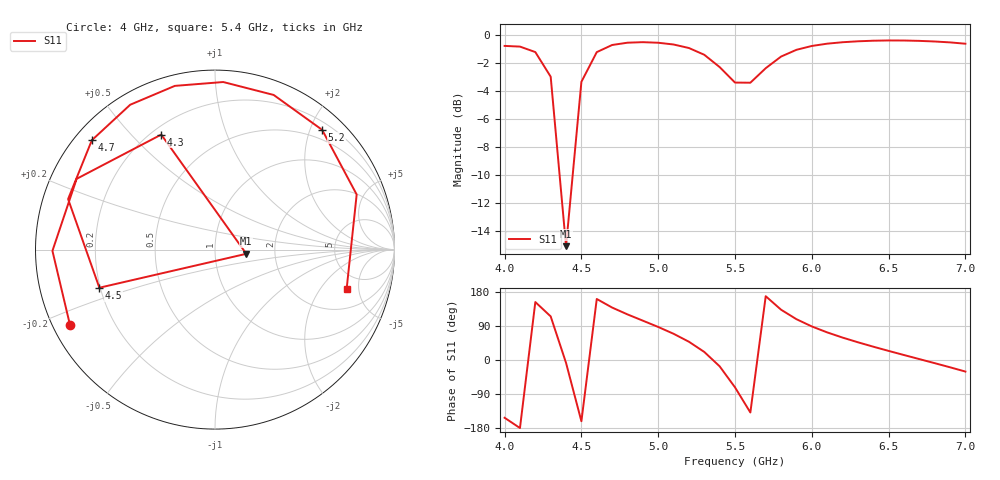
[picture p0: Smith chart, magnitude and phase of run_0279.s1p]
! Touchstone file exported from HFSS 2024.2.0
!  File:  C:/Users/wsak9/Desktop/Sim Fast/Widenad Patch/WP_AI_V1_sweep.aedt
!  Generated:  02:46:41 AM Oct 14, 2026
!  Design:  A1_model
!  Project:  WP_AI_V1_sweep
!  Setup:  Setup1
!  Solution:  Sweep
! Variables:
!  Air_gap = 2.09mm
!  Curve_Amp1 = 3.72
!  Curve_len1 = 1
!  Curve_pos = 13.025mm
!  Extra = 3.41mm
!  H_sub = 0.79mm
!  L_Patch = 22.05mm
!  L_Patch1 = 12.94mm
!  Sx = 2.18mm
!  Sy = 1.95mm
!  WS = 0.58mm
!  W_Patch = 13.38mm
!  W_Patch1 = 9.53mm
!Data is not renormalized
# GHz S MA
! Terminal data exported
! Port[1] = 1
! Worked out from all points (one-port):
!   31 points, 4 GHz to 7 GHz, reference per port
!   lowest |S11| = -15.1 dB at 4.4 GHz (marker M1), VSWR 1.43
!   |S11| at or under -10 dB: 4.358 GHz to 4.443 GHz (85.56 MHz wide, 1.94 % of centre)
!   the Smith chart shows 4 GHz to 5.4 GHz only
!   S11 on the Smith chart (normalised r, x): 4 GHz: 0.05, -0.24; 4.3 GHz: 0.24, +0.61; 4.5 GHz: 0.20, -0.15; 4.7 GHz: 0.05, +0.38; 5.2 GHz: 0.33, +2.20; 5.4 GHz: 3.47, -3.68
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4  0.9109 -152.4
4.1  0.9058 -179.6
4.2  0.8659 152.9
4.3  0.7073 115.0
4.4  0.176 -7.6
4.5  0.6784 -161.7
4.6  0.8655 161.0
4.7  0.9177 138.4
4.8  0.9352 120.3
4.9  0.9392 103.8
5  0.9348 87.2
5.1  0.9215 69.2
5.2  0.8952 48.2
5.3  0.8469 21.2
5.4  0.7656 -16.7
5.5  0.6741 -72.2
5.6  0.6733 -138.5
5.7  0.7585 168.3
5.8  0.8346 132.7
5.9  0.8821 107.7
6  0.9104 88.6
6.1  0.9277 72.9
6.2  0.9387 59.2
6.3  0.946 46.8
6.5  0.9525 24.0
6.7  0.9493 2.4
6.9  0.9375 -19.2
7  0.9274 -30.5
